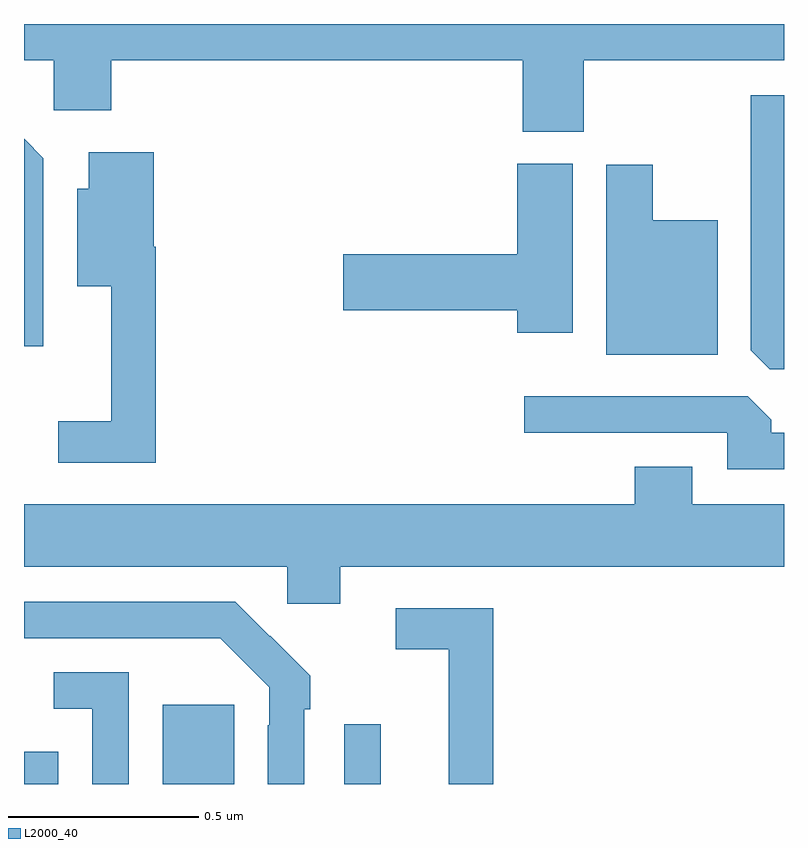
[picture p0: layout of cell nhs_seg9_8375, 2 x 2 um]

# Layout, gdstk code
import gdstk
lib = gdstk.Library(unit=1e-6, precision=1e-09)
def R(c, l, rs):  # rectangles x0, y0, x1, y1
    for r in rs: c.add(gdstk.rectangle(r[:2], r[2:], *l))
def P(c, l, *ps):  # polygons
    for p in ps: c.add(gdstk.Polygon(p, *l))
L2000_40 = (2000, 40)

nhs_seg9_8375 = lib.new_cell('nhs_seg9_8375')
R(nhs_seg9_8375, L2000_40, [(216,1210.5,216.09,1210.585), (216.365,1210.5,216.553,1210.708), (216.843,1210.5,216.939,1210.657)])
P(nhs_seg9_8375, L2000_40, [(217.473,1212.404),(218,1212.404),(218,1212.5),(216,1212.5),(216,1212.404),(216.078,1212.404),(216.078,1212.273),(216.23,1212.273),(216.23,1212.404),(217.313,1212.404),(217.313,1212.217),(217.473,1212.217)],
  [(218,1212.313),(217.913,1212.313),(217.913,1211.641),(217.962,1211.592),(218,1211.592)],
  [(216.051,1212.147),(216,1212.198),(216,1211.652),(216.051,1211.652)],
  [(216.347,1211.914),(216.341,1211.914),(216.341,1212.163),(216.17,1212.163),(216.17,1212.067),(216.14,1212.067),(216.14,1211.81),(216.23,1211.81),(216.23,1211.455),(216.09,1211.455),(216.09,1211.346),(216.347,1211.346)],
  [(217.444,1212.132),(217.298,1212.132),(217.298,1211.894),(216.84,1211.894),(216.84,1211.747),(217.298,1211.747),(217.298,1211.688),(217.444,1211.688)],
  [(217.825,1211.983),(217.654,1211.983),(217.654,1212.13),(217.532,1212.13),(217.532,1211.63),(217.825,1211.63)],
  [(218,1211.424),(217.967,1211.424),(217.967,1211.458),(217.905,1211.52),(217.317,1211.52),(217.317,1211.424),(217.851,1211.424),(217.851,1211.328),(218,1211.328)],
  [(216.832,1211.072),(218,1211.072),(218,1211.236),(217.759,1211.236),(217.759,1211.335),(217.607,1211.335),(217.607,1211.236),(216,1211.236),(216,1211.072),(216.693,1211.072),(216.693,1210.974),(216.832,1210.974)],
  [(216.738,1210.697),(216.753,1210.697),(216.753,1210.785),(216.648,1210.89),(216.647,1210.889),(216.556,1210.98),(216,1210.98),(216,1210.884),(216.517,1210.884),(216.645,1210.755),(216.645,1210.655),(216.642,1210.655),(216.642,1210.5),(216.738,1210.5)],
  [(217.235,1210.962),(216.978,1210.962),(216.978,1210.854),(217.118,1210.854),(217.118,1210.5),(217.235,1210.5)],
  [(216.276,1210.794),(216.078,1210.794),(216.078,1210.698),(216.18,1210.698),(216.18,1210.5),(216.276,1210.5)])

lib.write_gds('nhs_seg9_8375.gds')
